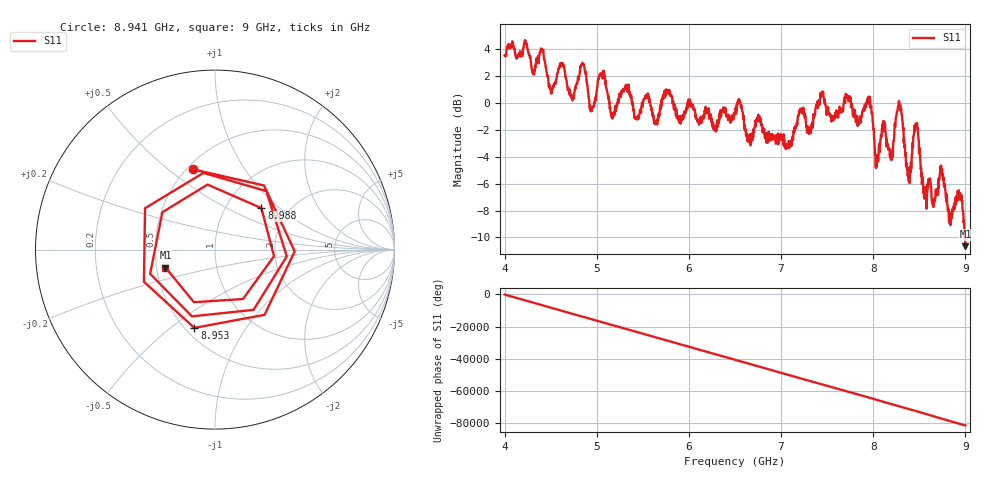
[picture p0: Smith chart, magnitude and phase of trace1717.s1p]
! Created with skrf 1.8.0 (http://scikit-rf.org).
# Hz S RI R 50.0
!freq ReS11 ImS11
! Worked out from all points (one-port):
!   1601 points, 4 GHz to 9 GHz, reference 50 ohm
!   lowest |S11| = -10.6 dB at 9 GHz (marker M1), VSWR 1.83, Z = 27.9 - j6.11 ohm
!   |S11| at or under -10 dB: 8.994624 GHz to end of sweep
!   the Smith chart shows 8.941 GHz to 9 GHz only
!   S11 on the Smith chart (normalised r, x): 8.941 GHz: 0.54, +0.61; 8.953 GHz: 0.56, -0.61; 8.988 GHz: 1.46, +0.77; 9 GHz: 0.56, -0.12
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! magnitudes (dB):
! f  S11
! 4 GHz  3.5
! 4.403 GHz  4.0
! 4.506 GHz  0.7
! 4.625 GHz  2.8
! 4.731 GHz  0.3
! 4.853 GHz  2.9
! 4.944 GHz  -0.6
! 5.053 GHz  2.1
! 5.166 GHz  -0.8
! 5.25 GHz  0.5
! 5.875 GHz  -0.9
! 6.5 GHz  -0.7
! 7.125 GHz  -2.8
! 7.434 GHz  0.4
! 7.75 GHz  0.2
! 7.956 GHz  0.2
! 8.041 GHz  -4.3
! 8.109 GHz  -1.3
! 8.2 GHz  -4.2
! 8.288 GHz  -0.2
! 8.375 GHz  -5.4
! 8.466 GHz  -1.5
! 8.562 GHz  -6.2
! 8.738 GHz  -4.7
! 8.941 GHz  -6.7
! 8.953 GHz  -6.9
! 8.988 GHz  -9.2
! 9 GHz  -10.6
